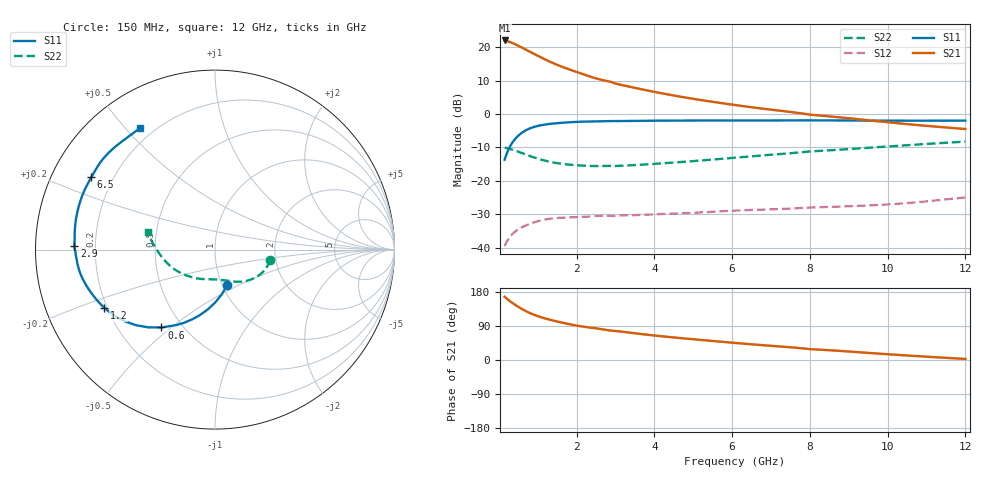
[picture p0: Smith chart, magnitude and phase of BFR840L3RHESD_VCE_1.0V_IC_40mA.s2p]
! Infineon Technologies  Discrete & RF Semiconductors
! BFR840L3RHESD
! VCE =  1.0 V,  IC =  40 mA
! Common Emitter S-Parameters:  Jun 2012
# GHz  S  MA  R  50
!  f  S11  S21  S12  S22
! GHz  MAG  ANG  MAG  ANG  MAG  ANG  MAG  ANG
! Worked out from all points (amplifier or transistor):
!   91 points, 150 MHz to 12 GHz, reference 50 ohm
!   highest |S21| = 22.0 dB at 150 MHz (marker M1)
!   |S21| within 3 dB of that: start of sweep to 738.2 MHz
!   unconditionally stable (mu >= 1): start of sweep to end of sweep
!   at 1.3 GHz: K = 1.40, MAG = 19.8 dB, |S12| = -31.4 dB
!   at 4.3 GHz: K = 2.73, MAG = 10.7 dB, |S12| = -29.9 dB
!   at 12 GHz: K = 4.83, MAG = 0.4 dB, |S12| = -25.0 dB
!   S11 on the Smith chart (normalised r, x): 150 MHz: 1.06, -0.43; 600 MHz: 0.39, -0.46; 1.2 GHz: 0.19, -0.24; 2.9 GHz: 0.12, +0.01; 6.5 GHz: 0.12, +0.27; 12 GHz: 0.15, +0.55
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0.15  0.2066 -70.4  12.61 166.7  0.0105 26.0  0.313 -10.6
0.25  0.2948 -89.8  12.16 158.2  0.0135 32.4  0.3042 -18.8
0.35  0.3732 -102.8  11.55 150.6  0.0159 34.9  0.2925 -26.0
0.45  0.4417 -112.8  10.86 143.6  0.0179 35.6  0.2793 -32.3
0.6  0.5266 -124.5  9.825 134.3  0.0202 34.7  0.2593 -40.4
0.8  0.6089 -136.2  8.55 123.9  0.0227 31.8  0.2349 -49.3
0.9  0.6386 -141.0  7.976 119.6  0.0238 30.3  0.2243 -53.0
1  0.6623 -145.2  7.447 115.8  0.0248 28.8  0.2149 -56.3
1.2  0.6963 -152.2  6.521 109.4  0.0264 26.4  0.1996 -62.1
1.4  0.7193 -157.8  5.767 104.1  0.0274 24.9  0.1883 -67.1
1.7  0.7442 -164.4  4.909 97.0  0.0281 23.8  0.1774 -74.2
1.9  0.7566 -168.0  4.462 92.7  0.0284 23.5  0.1728 -78.5
2.2  0.7683 -172.9  3.886 87.6  0.0289 23.1  0.1682 -84.3
2.5  0.7745 -177.0  3.413 83.5  0.0297 22.9  0.1661 -89.5
2.9  0.7836 178.4  3.004 77.3  0.0299 24.0  0.1673 -96.5
3.4  0.7873 173.1  2.533 71.8  0.0305 24.6  0.1706 -104.6
4.2  0.794 166.1  2.037 62.6  0.0318 27.5  0.1824 -116.9
6.1  0.7982 152.3  1.356 44.8  0.0358 32.4  0.2223 -141.8
6.5  0.7984 149.7  1.262 41.4  0.0366 33.0  0.2324 -146.4
8.5  0.8013 137.7  0.921 25.8  0.0406 36.7  0.2857 -167.6
10.5  0.7929 127.9  0.705 11.9  0.0463 43.3  0.3409 175.9
12  0.7956 121.8  0.596 2.8  0.0563 45.0  0.3862 165.6
